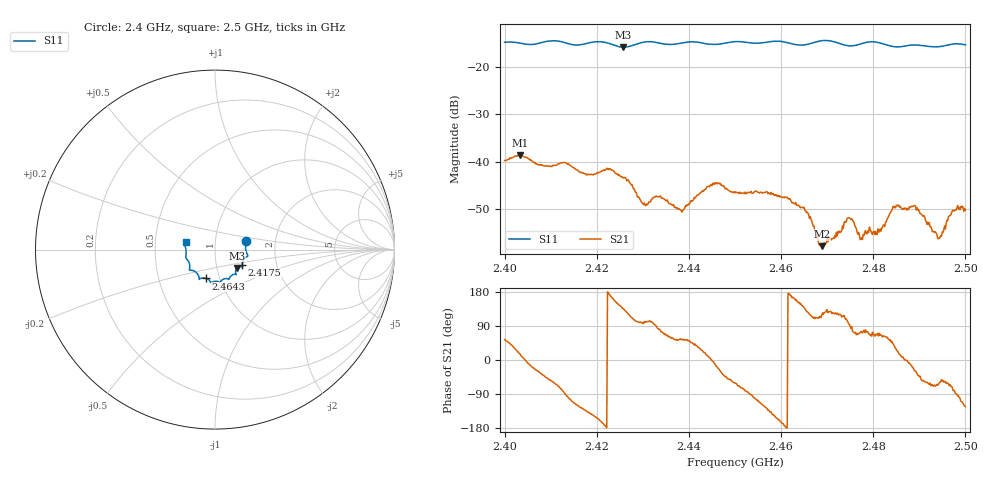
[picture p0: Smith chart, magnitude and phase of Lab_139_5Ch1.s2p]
# Hz S RI R 50
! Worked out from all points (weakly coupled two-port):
!   601 points, 2.4 GHz to 2.5 GHz, reference 50 ohm
!   highest |S21| = -38.62 dB at 2.4033 GHz (marker M1); lowest = -57.7 dB at 2.4688 GHz (marker M2)
!   lowest |S11| = -15.9 dB at 2.4257 GHz (marker M3), VSWR 1.38, Z = 62.4 - j13.1 ohm
!   |S11| at or under -10 dB: start of sweep to end of sweep
!   S12 and S22 are empty: the file has one direction only
!   S11 on the Smith chart (normalised r, x): 2.4 GHz: 1.41, +0.14; 2.4175 GHz: 1.34, -0.23; 2.4643 GHz: 0.86, -0.28; 2.5 GHz: 0.72, +0.06
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2.4e9  0.1736 0.0482  0.00608 0.00831  0 0  0 0
2.403333e9  0.1739 0.0314  0.0113 0.00327  0 0  0 0
2.416667e9  0.1531 -0.0748  -0.00451 -0.0063  0 0  0 0
2.4175e9  0.152 -0.0841  -0.00505 -0.00552  0 0  0 0
2.425667e9  0.1225 -0.1023  -0.00486 0.00476  0 0  0 0
2.430167e9  0.1176 -0.1371  -0.000382 0.00352  0 0  0 0
2.433333e9  0.1127 -0.1372  0.000542 0.00425  0 0  0 0
2.4385e9  0.0809 -0.1573  0.00174 0.00239  0 0  0 0
2.445333e9  0.0526 -0.1623  0.00575 -0.000442  0 0  0 0
2.45e9  0.0287 -0.1807  0.00225 -0.00412  0 0  0 0
2.464333e9  -0.0499 -0.1604  -0.00278 0.00176  0 0  0 0
2.466667e9  -0.0759 -0.1592  -0.00102 0.00217  0 0  0 0
2.468833e9  -0.0877 -0.1653  -0.000605 0.00115  0 0  0 0
2.474833e9  -0.1047 -0.1277  -0.000154 0.00257  0 0  0 0
2.4775e9  -0.131 -0.1153  0.000451 0.00152  0 0  0 0
2.481167e9  -0.1423 -0.108  0.000813 0.00164  0 0  0 0
2.483333e9  -0.1403 -0.0899  0.00153 0.00216  0 0  0 0
2.484833e9  -0.1435 -0.0736  0.00284 0.00165  0 0  0 0
2.488667e9  -0.162 -0.0471  0.00318 -0.0012  0 0  0 0
2.494333e9  -0.162 0.00199  0.000763 -0.00136  0 0  0 0
2.496833e9  -0.1689 0.0257  0.000977 -0.00258  0 0  0 0
2.5e9  -0.1638 0.0427  -0.00167 -0.00259  0 0  0 0
